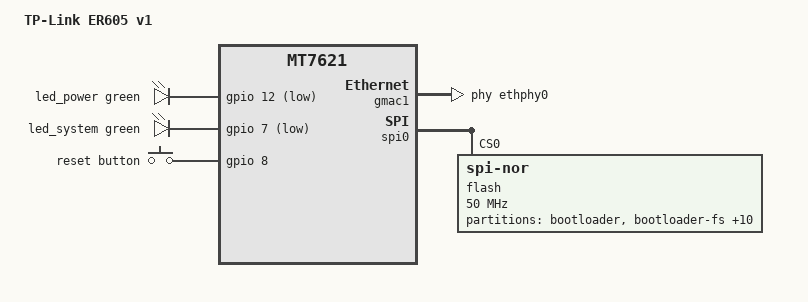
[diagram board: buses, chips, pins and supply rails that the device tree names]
// SPDX-License-Identifier: GPL-2.0-or-later

#include "mt7621.dtsi"

#include <dt-bindings/gpio/gpio.h>
#include <dt-bindings/input/input.h>
#include <dt-bindings/leds/common.h>

/ {
	model = "TP-Link ER605 v1";
	compatible = "tplink,er605-v1", "mediatek,mt7621-soc";

	chosen {
		bootargs = "console=ttyS0,115200 noinitrd";
		// Override bootargs because u-boot passes wrong root parameter.
		// Instead allow kernel determine root automatically by looking for rootfs volume
		bootargs-override = "console=ttyS0,115200 noinitrd";
	};

	aliases {
		led-boot = &led_system;
		led-failsafe = &led_system;
		led-running = &led_system;
		led-upgrade = &led_system;
		label-mac-device = &gmac0;
	};

	leds {
		compatible = "gpio-leds";

		led_power: power {
			color = <LED_COLOR_ID_GREEN>;
			function = LED_FUNCTION_POWER;
			gpios = <&gpio 12 GPIO_ACTIVE_LOW>;
			default-state = "on";
		};

		led_system: system {
			color = <LED_COLOR_ID_GREEN>;
			function = LED_FUNCTION_STATUS;
			gpios = <&gpio 7 GPIO_ACTIVE_LOW>;
			default-state = "keep";
		};
	};

	keys {
		compatible = "gpio-keys";

		reset {
			label = "reset button";
			gpios = <&gpio 8 GPIO_ACTIVE_HIGH>;
			linux,code = <KEY_RESTART>;
		};
	};
};

&gmac0 {
	label = "dsa";
};

&gmac1 {
	status = "okay";
	label = "wan1";
	phy-handle = <&ethphy0>;
};


&switch0 {
	ports {
		port@0 {
			status = "disabled";
		};

		port@1 {
			status = "okay";
			label = "lan2";
		};

		port@2 {
			status = "okay";
			label = "lan3";
		};

		port@3 {
			status = "okay";
			label = "lan4";
		};

		port@4 {
			status = "okay";
			label = "lan5";
		};
	};
};

&spi0 {
	status = "okay";

	flash@0 {
		compatible = "jedec,spi-nor";
		reg = <0>;
		spi-max-frequency = <50000000>;

		partitions {
			compatible = "fixed-partitions";
			#address-cells = <1>;
			#size-cells = <1>;

			partition@0 {
				label = "bootloader";
				reg = <0x0 0x40000>;
				read-only;
			};

			partition@40000 {
				label = "bootloader-fs";
				reg = <0x40000 0x30000>;
				read-only;
			};

			partition@70000 {
				label = "extra-para";
				reg = <0x70000 0x10000>;
				read-only;
			};

			partition@80000 {
				compatible = "denx,uimage";
				label = "firmware";
				reg = <0x80000 0xd70000>;
			};

			partition@df0000 {
				label = "panic-oops";
				reg = <0xdf0000 0x20000>;
				read-only;
			};

			partition@e10000 {
				label = "partition-table";
				reg = <0xe10000 0x10000>;
				read-only;
			};

			partition@e20000 {
				label = "device-info";
				reg = <0xe20000 0x10000>;
				read-only;
			};

			partition@e30000 {
				label = "support-list";
				reg = <0xe30000 0x10000>;
				read-only;
			};

			partition@e40000 {
				label = "firmware-info";
				reg = <0xe40000 0x10000>;
				read-only;
			};

			partition@e50000 {
				label = "tddp";
				reg = <0xe50000 0x10000>;
				read-only;
			};

			partition@e60000 {
				label = "log";
				reg = <0xe60000 0x20000>;
				read-only;
			};

			partition@e80000 {
				label = "rootfs_data_back";
				reg = <0xe80000 0x180000>;
				read-only;
			};
		};
	};
};

&ethphy0 {
	/delete-property/ interrupts;
};

&state_default {
	gpio {
		groups = "uart2", "uart3", "pcie", "jtag";
		function = "gpio";
	};
};
